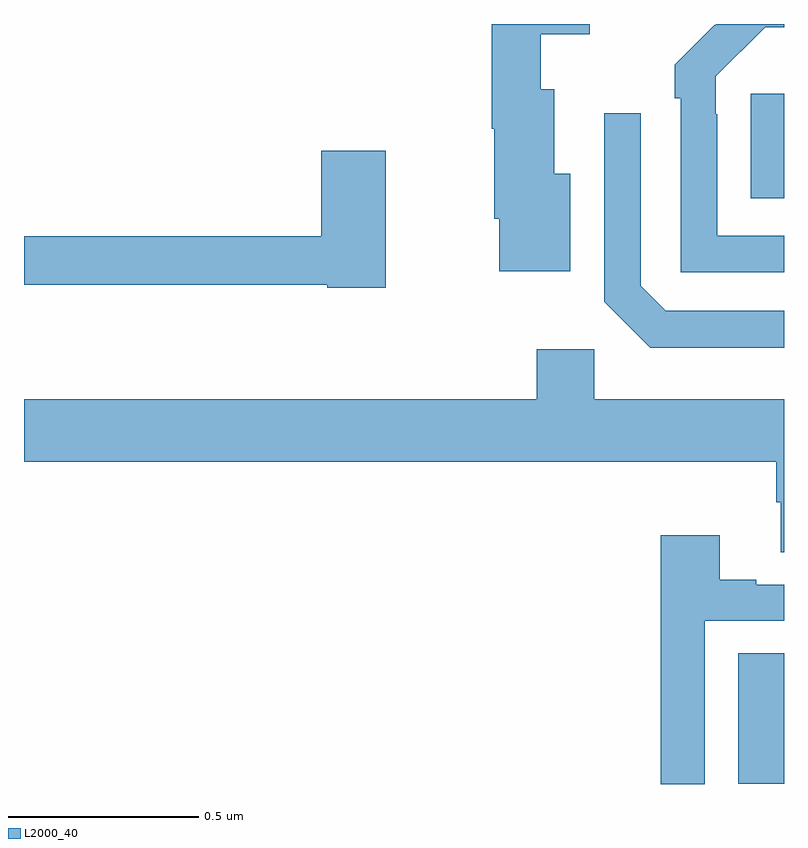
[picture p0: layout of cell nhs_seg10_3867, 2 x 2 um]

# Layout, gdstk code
import gdstk
lib = gdstk.Library(unit=1e-6, precision=1e-09)
def R(c, l, rs):  # rectangles x0, y0, x1, y1
    for r in rs: c.add(gdstk.rectangle(r[:2], r[2:], *l))
def P(c, l, *ps):  # polygons
    for p in ps: c.add(gdstk.Polygon(p, *l))
L2000_40 = (2000, 40)

nhs_seg10_3867 = lib.new_cell('nhs_seg10_3867')
R(nhs_seg10_3867, L2000_40, [(160.88,1267.501,161,1267.844), (160.913,1269.041,161,1269.316)])
P(nhs_seg10_3867, L2000_40, [(160.438,1269.106),(160.396,1269.106),(160.396,1269.328),(160.36,1269.328),(160.36,1269.473),(160.489,1269.473),(160.489,1269.5),(160.231,1269.5),(160.231,1269.224),(160.238,1269.224),(160.238,1268.988),(160.25,1268.988),(160.25,1268.849),(160.438,1268.849)],
  [(161,1268.943),(160.824,1268.943),(160.824,1269.263),(160.821,1269.263),(160.821,1269.363),(160.95,1269.492),(161,1269.492),(161,1269.5),(160.822,1269.5),(160.819,1269.497),(160.818,1269.498),(160.713,1269.393),(160.713,1269.305),(160.728,1269.305),(160.728,1268.847),(161,1268.847)],
  [(161,1268.745),(160.689,1268.745),(160.623,1268.811),(160.623,1269.265),(160.527,1269.265),(160.527,1268.769),(160.648,1268.648),(161,1268.648)],
  [(159.952,1269.166),(159.782,1269.166),(159.782,1268.942),(159,1268.942),(159,1268.814),(159.798,1268.814),(159.798,1268.806),(159.952,1268.806)],
  [(161,1268.512),(160.5,1268.512),(160.5,1268.644),(160.349,1268.644),(160.349,1268.512),(159,1268.512),(159,1268.348),(160.979,1268.348),(160.979,1268.242),(160.991,1268.242),(160.991,1268.11),(161,1268.11)],
  [(160.791,1267.929),(161,1267.929),(161,1268.025),(160.927,1268.025),(160.927,1268.038),(160.831,1268.038),(160.831,1268.155),(160.675,1268.155),(160.675,1267.5),(160.791,1267.5)])

lib.write_gds('nhs_seg10_3867.gds')
